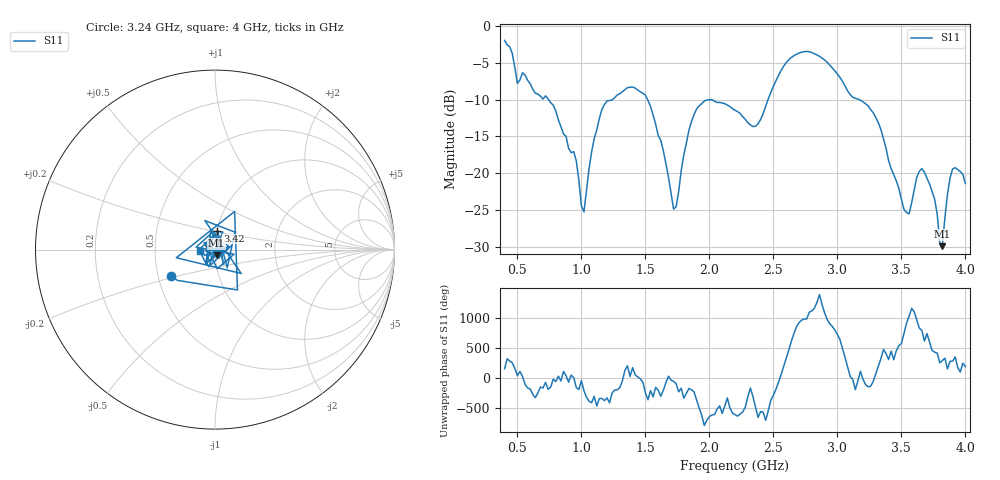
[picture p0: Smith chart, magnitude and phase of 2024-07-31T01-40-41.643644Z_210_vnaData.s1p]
!Created with skrf (http://scikit-rf.org).
# Hz S RI R 50.0
!freq ReS11 ImS11
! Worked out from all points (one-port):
!   181 points, 400 MHz to 4 GHz, reference 50 ohm
!   lowest |S11| = -29.9 dB at 3.82 GHz (marker M1), VSWR 1.07, Z = 50.8 - j3.13 ohm
!   |S11| at or under -10 dB: 743.8 MHz to 1.244 GHz (500.2 MHz wide, 50.3 % of centre); 1.517 GHz to 2.458 GHz (941.6 MHz wide, 47.4 % of centre); 3.169 GHz to end of sweep
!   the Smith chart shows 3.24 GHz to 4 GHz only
!   S11 on the Smith chart (normalised r, x): 3.24 GHz: 0.58, -0.19; 3.42 GHz: 1.00, +0.22; 4 GHz: 0.84, -0.01
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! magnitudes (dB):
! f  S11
! 400 MHz  -2.0
! 500 MHz  -7.8
! 720 MHz  -9.5
! 860 MHz  -14.7
! 960 MHz  -18.3
! 1.02 GHz  -25.3
! 1.08 GHz  -17.1
! 1.16 GHz  -11.3
! 1.3 GHz  -9.2
! 1.5 GHz  -9.4
! 1.64 GHz  -16.9
! 1.72 GHz  -24.9
! 1.76 GHz  -22.5
! 1.84 GHz  -14.2
! 1.9 GHz  -11.3
! 2.2 GHz  -11.5
! 2.36 GHz  -13.6
! 2.66 GHz  -4.0
! 2.88 GHz  -4.4
! 3.1 GHz  -9.3
! 3.24 GHz  -10.9
! 3.42 GHz  -19.4
! 3.56 GHz  -25.5
! 3.66 GHz  -19.4
! 3.76 GHz  -23.6
! 3.82 GHz  -29.9
! 3.9 GHz  -19.4
! 4 GHz  -21.4
